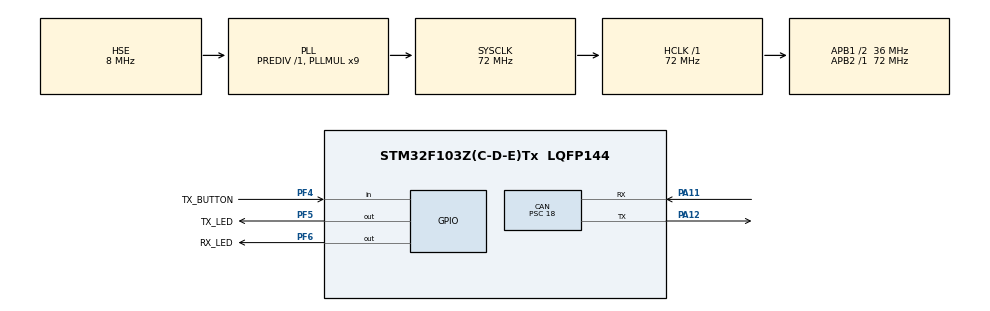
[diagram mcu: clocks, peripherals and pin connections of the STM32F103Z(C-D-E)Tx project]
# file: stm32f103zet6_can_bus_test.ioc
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CAN.BS1=CAN_BS1_2TQ
CAN.CalculateBaudRate=500000
CAN.CalculateTimeBit=2000
CAN.CalculateTimeQuantum=500.0
CAN.Mode=CAN_MODE_NORMAL
CAN.Prescaler=18
Mcu.Family=STM32F1
Mcu.Name=STM32F103Z(C-D-E)Tx
Mcu.Package=LQFP144
NVIC.CAN1_RX1_IRQn=true\:0\:0\:false\:false\:true\:true\:true\:true
NVIC.PriorityGroup=NVIC_PRIORITYGROUP_4
NVIC.USB_LP_CAN1_RX0_IRQn=true\:0\:0\:false\:false\:true\:true\:true\:true
OSC_IN.Mode=HSE-External-Oscillator
OSC_IN.Signal=RCC_OSC_IN
OSC_OUT.Mode=HSE-External-Oscillator
OSC_OUT.Signal=RCC_OSC_OUT
PA11.GPIO_PuPd=GPIO_PULLUP
PA11.Mode=CAN_Activate
PA11.Signal=CAN_RX
PA12.Mode=CAN_Activate
PA12.Signal=CAN_TX
PA13.Mode=Serial_Wire
PA13.Signal=SYS_JTMS-SWDIO
PA14.Mode=Serial_Wire
PA14.Signal=SYS_JTCK-SWCLK
PF4.GPIO_Label=TX_BUTTON
PF4.GPIO_PuPd=GPIO_PULLDOWN
PF4.Signal=GPIO_Input
PF5.GPIO_Label=TX_LED
PF5.Signal=GPIO_Output
PF6.GPIO_Label=RX_LED
PF6.Signal=GPIO_Output
ProjectManager.HeapSize=0x200
ProjectManager.StackSize=0x400
ProjectManager.TargetToolchain=STM32CubeIDE
RCC.AHBFreq_Value=72000000
RCC.APB1CLKDivider=RCC_HCLK_DIV2
RCC.APB1Freq_Value=36000000
RCC.APB1TimFreq_Value=72000000
RCC.APB2Freq_Value=72000000
RCC.APB2TimFreq_Value=72000000
RCC.HCLKFreq_Value=72000000
RCC.PLLMUL=RCC_PLL_MUL9
RCC.PLLSourceVirtual=RCC_PLLSOURCE_HSE
RCC.SYSCLKFreq_VALUE=72000000
RCC.SYSCLKSource=RCC_SYSCLKSOURCE_PLLCLK
RCC.USBFreq_Value=72000000
board=custom

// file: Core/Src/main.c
/* USER CODE BEGIN Header */
/**
  ******************************************************************************
  * @file           : main.c
  * @brief          : Main program body
  ******************************************************************************
  * @attention
  *
  * Copyright (c) 2023 STMicroelectronics.
  * All rights reserved.
  *
  * This software is licensed under terms that can be found in the LICENSE file
  * in the root directory of this software component.
  * If no LICENSE file comes with this software, it is provided AS-IS.
  *
  ******************************************************************************
  */
/* USER CODE END Header */
#include "main.h"

CAN_HandleTypeDef hcan;

void SystemClock_Config(void);
static void MX_GPIO_Init(void);
static void MX_CAN_Init(void);

/* USER CODE BEGIN 0 */
CAN_TxHeaderTypeDef TxHeader;
CAN_RxHeaderTypeDef RxHeader;

uint8_t TxData[8];
uint8_t RxData[8];

uint32_t TxMailbox;

uint8_t count = 0;
int datacheck = 0;

void HAL_CAN_RxFifo1MsgPendingCallback(CAN_HandleTypeDef *hcan){
	count++;
	HAL_CAN_GetRxMessage(hcan, CAN_RX_FIFO1, &RxHeader, RxData);
	if(RxHeader.DLC == 2){
		datacheck = 1;
	}
}

/* USER CODE END 0 */

int main(void)
{

  /* MCU Configuration--------------------------------------------------------*/

  /* Reset of all peripherals, Initializes the Flash interface and the Systick. */
  HAL_Init();

  /* Configure the system clock */
  SystemClock_Config();

  /* Initialize all configured peripherals */
  MX_GPIO_Init();
  MX_CAN_Init();
  /* USER CODE BEGIN 2 */
  HAL_CAN_Start(&hcan);

  HAL_CAN_ActivateNotification(&hcan, CAN_IT_RX_FIFO1_MSG_PENDING);

  TxHeader.DLC = 2;
  TxHeader.ExtId = 0;
  TxHeader.IDE = CAN_ID_STD;
  TxHeader.RTR = CAN_RTR_DATA;
  TxHeader.StdId = 0x103;
  TxHeader.TransmitGlobalTime = DISABLE;

  TxData[0] = 50;
  TxData[1] = 20;

  /* USER CODE END 2 */

  /* Infinite loop */
  /* USER CODE BEGIN WHILE */
  while (1)
  {
	  if(datacheck){
		  for(int i=0; i<RxData[1]; i++){
			  HAL_GPIO_TogglePin(RX_LED_GPIO_Port, RX_LED_Pin);
			  HAL_Delay(RxData[0]);
		  }
		  datacheck = 0;
	  }
	  if(HAL_GPIO_ReadPin(TX_BUTTON_GPIO_Port, TX_BUTTON_Pin) == 1){
		  HAL_GPIO_WritePin(TX_LED_GPIO_Port, TX_LED_Pin, SET);

		  HAL_CAN_AddTxMessage(&hcan, &TxHeader, TxData, &TxMailbox);
	  }

	  HAL_GPIO_WritePin(TX_LED_GPIO_Port, TX_LED_Pin, RESET);
    /* USER CODE END WHILE */

  }
}

void SystemClock_Config(void)
{
  RCC_OscInitTypeDef RCC_OscInitStruct = {0};
  RCC_ClkInitTypeDef RCC_ClkInitStruct = {0};

  /** Initializes the RCC Oscillators according to the specified parameters
  * in the RCC_OscInitTypeDef structure.
  */
  RCC_OscInitStruct.OscillatorType = RCC_OSCILLATORTYPE_HSE;
  RCC_OscInitStruct.HSEState = RCC_HSE_ON;
  RCC_OscInitStruct.HSEPredivValue = RCC_HSE_PREDIV_DIV1;
  RCC_OscInitStruct.HSIState = RCC_HSI_ON;
  RCC_OscInitStruct.PLL.PLLState = RCC_PLL_ON;
  RCC_OscInitStruct.PLL.PLLSource = RCC_PLLSOURCE_HSE;
  RCC_OscInitStruct.PLL.PLLMUL = RCC_PLL_MUL9;
  if (HAL_RCC_OscConfig(&RCC_OscInitStruct) != HAL_OK)
  {
    Error_Handler();
  }

  /** Initializes the CPU, AHB and APB buses clocks
  */
  RCC_ClkInitStruct.ClockType = RCC_CLOCKTYPE_HCLK|RCC_CLOCKTYPE_SYSCLK
                              |RCC_CLOCKTYPE_PCLK1|RCC_CLOCKTYPE_PCLK2;
  RCC_ClkInitStruct.SYSCLKSource = RCC_SYSCLKSOURCE_PLLCLK;
  RCC_ClkInitStruct.AHBCLKDivider = RCC_SYSCLK_DIV1;
  RCC_ClkInitStruct.APB1CLKDivider = RCC_HCLK_DIV2;
  RCC_ClkInitStruct.APB2CLKDivider = RCC_HCLK_DIV1;

  if (HAL_RCC_ClockConfig(&RCC_ClkInitStruct, FLASH_LATENCY_2) != HAL_OK)
  {
    Error_Handler();
  }
}

static void MX_CAN_Init(void)
{

  hcan.Instance = CAN1;
  hcan.Init.Prescaler = 18;
  hcan.Init.Mode = CAN_MODE_NORMAL;
  hcan.Init.SyncJumpWidth = CAN_SJW_1TQ;
  hcan.Init.TimeSeg1 = CAN_BS1_2TQ;
  hcan.Init.TimeSeg2 = CAN_BS2_1TQ;
  hcan.Init.TimeTriggeredMode = DISABLE;
  hcan.Init.AutoBusOff = DISABLE;
  hcan.Init.AutoWakeUp = DISABLE;
  hcan.Init.AutoRetransmission = DISABLE;
  hcan.Init.ReceiveFifoLocked = DISABLE;
  hcan.Init.TransmitFifoPriority = DISABLE;
  if (HAL_CAN_Init(&hcan) != HAL_OK)
  {
    Error_Handler();
  }
  /* USER CODE BEGIN CAN_Init 2 */
  CAN_FilterTypeDef canfilterconfig;

  canfilterconfig.FilterActivation = CAN_FILTER_ENABLE;
  canfilterconfig.FilterBank = 10;  // which filter bank to use from the assigned ones
  canfilterconfig.FilterFIFOAssignment = CAN_FILTER_FIFO1;
  canfilterconfig.FilterIdHigh = 0x446<<5;
  canfilterconfig.FilterIdLow = 0x0000;
  canfilterconfig.FilterMaskIdHigh = 0x446<<5;
  canfilterconfig.FilterMaskIdLow = 0x0000;
  canfilterconfig.FilterMode = CAN_FILTERMODE_IDMASK;
  canfilterconfig.FilterScale = CAN_FILTERSCALE_32BIT;
  canfilterconfig.SlaveStartFilterBank = 0;  // how many filters to assign to the CAN1 (master can)

  HAL_CAN_ConfigFilter(&hcan, &canfilterconfig);
  /* USER CODE END CAN_Init 2 */

}

static void MX_GPIO_Init(void)
{
  GPIO_InitTypeDef GPIO_InitStruct = {0};

  /* GPIO Ports Clock Enable */
  __HAL_RCC_GPIOF_CLK_ENABLE();
  __HAL_RCC_GPIOA_CLK_ENABLE();

  /*Configure GPIO pin Output Level */
  HAL_GPIO_WritePin(GPIOF, TX_LED_Pin|RX_LED_Pin, GPIO_PIN_RESET);

  /*Configure GPIO pin : TX_BUTTON_Pin */
  GPIO_InitStruct.Pin = TX_BUTTON_Pin;
  GPIO_InitStruct.Mode = GPIO_MODE_INPUT;
  GPIO_InitStruct.Pull = GPIO_PULLDOWN;
  HAL_GPIO_Init(TX_BUTTON_GPIO_Port, &GPIO_InitStruct);

  /*Configure GPIO pins : TX_LED_Pin RX_LED_Pin */
  GPIO_InitStruct.Pin = TX_LED_Pin|RX_LED_Pin;
  GPIO_InitStruct.Mode = GPIO_MODE_OUTPUT_PP;
  GPIO_InitStruct.Pull = GPIO_NOPULL;
  GPIO_InitStruct.Speed = GPIO_SPEED_FREQ_LOW;
  HAL_GPIO_Init(GPIOF, &GPIO_InitStruct);

}

void Error_Handler(void)
{
  __disable_irq();
  while (1)
  {
  }
}
